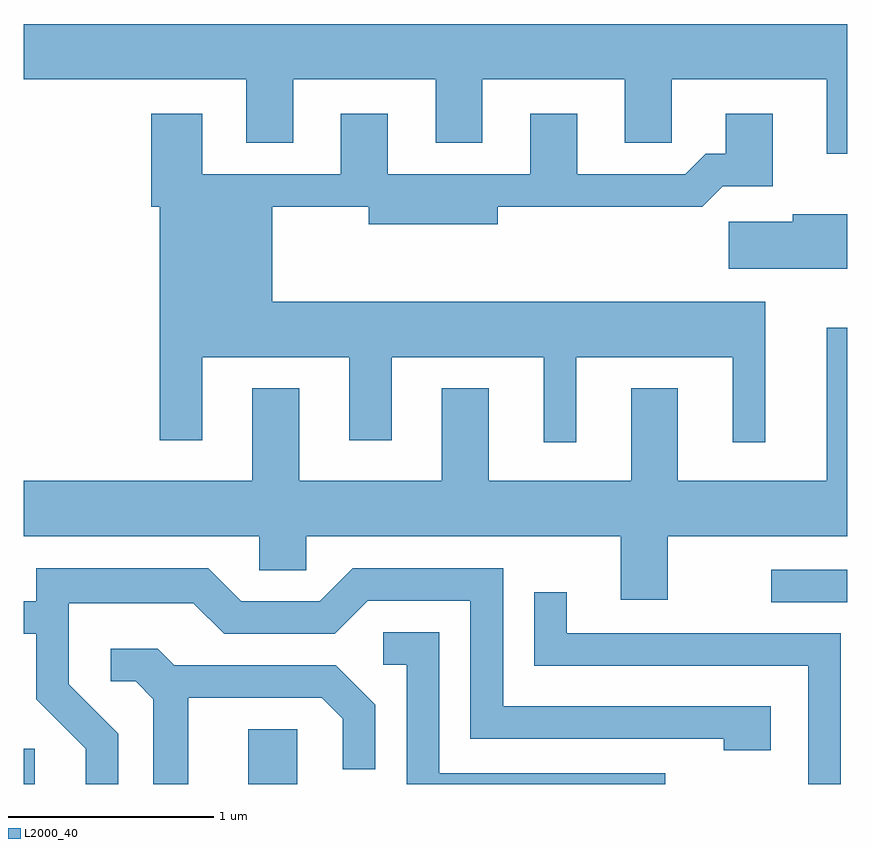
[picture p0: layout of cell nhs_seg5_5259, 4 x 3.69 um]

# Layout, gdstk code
import gdstk
lib = gdstk.Library(unit=1e-6, precision=1e-09)
def R(c, l, rs):  # rectangles x0, y0, x1, y1
    for r in rs: c.add(gdstk.rectangle(r[:2], r[2:], *l))
def P(c, l, *ps):  # polygons
    for p in ps: c.add(gdstk.Polygon(p, *l))
L2000_40 = (2000, 40)

nhs_seg5_5259 = lib.new_cell('nhs_seg5_5259')
R(nhs_seg5_5259, L2000_40, [(341.611,1420.072,341.664,1420.244), (342.701,1420.072,342.939,1420.339), (345.243,1420.956,345.611,1421.114)])
P(nhs_seg5_5259, L2000_40, [(345.611,1423.764),(341.611,1423.764),(341.611,1423.496),(342.691,1423.496),(342.691,1423.186),(342.919,1423.186),(342.919,1423.496),(343.611,1423.496),(343.611,1423.186),(343.839,1423.186),(343.839,1423.496),(344.531,1423.496),(344.531,1423.186),(344.759,1423.186),(344.759,1423.496),(345.511,1423.496),(345.511,1423.133),(345.611,1423.133)],
  [(344.294,1422.146),(345.056,1422.146),(345.056,1421.733),(345.214,1421.733),(345.214,1422.414),(342.819,1422.414),(342.819,1422.876),(343.286,1422.876),(343.286,1422.791),(343.914,1422.791),(343.914,1422.876),(344.907,1422.876),(345.007,1422.976),(345.249,1422.976),(345.249,1423.329),(345.021,1423.329),(345.021,1423.134),(344.924,1423.134),(344.824,1423.034),(344.299,1423.034),(344.299,1423.329),(344.071,1423.329),(344.071,1423.034),(343.379,1423.034),(343.379,1423.329),(343.151,1423.329),(343.151,1423.034),(342.479,1423.034),(342.479,1423.329),(342.231,1423.329),(342.231,1422.876),(342.271,1422.876),(342.271,1421.741),(342.479,1421.741),(342.479,1422.146),(343.191,1422.146),(343.191,1421.741),(343.399,1421.741),(343.399,1422.146),(344.136,1422.146),(344.136,1421.733),(344.294,1421.733)],
  [(345.611,1422.839),(345.346,1422.839),(345.346,1422.804),(345.036,1422.804),(345.036,1422.576),(345.611,1422.576)],
  [(344.739,1421.276),(345.611,1421.276),(345.611,1422.288),(345.511,1422.288),(345.511,1421.544),(344.789,1421.544),(344.789,1421.994),(344.561,1421.994),(344.561,1421.544),(343.869,1421.544),(343.869,1421.994),(343.641,1421.994),(343.641,1421.544),(342.949,1421.544),(342.949,1421.994),(342.721,1421.994),(342.721,1421.544),(341.611,1421.544),(341.611,1421.276),(342.756,1421.276),(342.756,1421.111),(342.984,1421.111),(342.984,1421.276),(344.511,1421.276),(344.511,1420.966),(344.739,1420.966)],
  [(342.069,1420.317),(341.829,1420.557),(341.829,1420.951),(342.434,1420.951),(342.584,1420.801),(343.122,1420.801),(343.282,1420.961),(343.781,1420.961),(343.781,1420.291),(345.011,1420.291),(345.011,1420.236),(345.239,1420.236),(345.239,1420.449),(343.939,1420.449),(343.939,1421.119),(343.209,1421.119),(343.049,1420.959),(342.667,1420.959),(342.507,1421.119),(341.671,1421.119),(341.671,1420.959),(341.611,1420.959),(341.611,1420.801),(341.671,1420.801),(341.671,1420.484),(341.911,1420.244),(341.911,1420.072),(342.069,1420.072)],
  [(345.579,1420.804),(344.249,1420.804),(344.249,1421.003),(344.091,1421.003),(344.091,1420.646),(345.421,1420.646),(345.421,1420.072),(345.579,1420.072)],
  [(344.728,1420.124),(343.629,1420.124),(343.629,1420.809),(343.358,1420.809),(343.358,1420.651),(343.471,1420.651),(343.471,1420.072),(344.728,1420.072)],
  [(342.409,1420.491),(343.059,1420.491),(343.161,1420.389),(343.161,1420.143),(343.319,1420.143),(343.319,1420.457),(343.127,1420.649),(342.342,1420.649),(342.262,1420.729),(342.033,1420.729),(342.033,1420.571),(342.154,1420.571),(342.241,1420.484),(342.241,1420.072),(342.409,1420.072)])

lib.write_gds('nhs_seg5_5259.gds')
